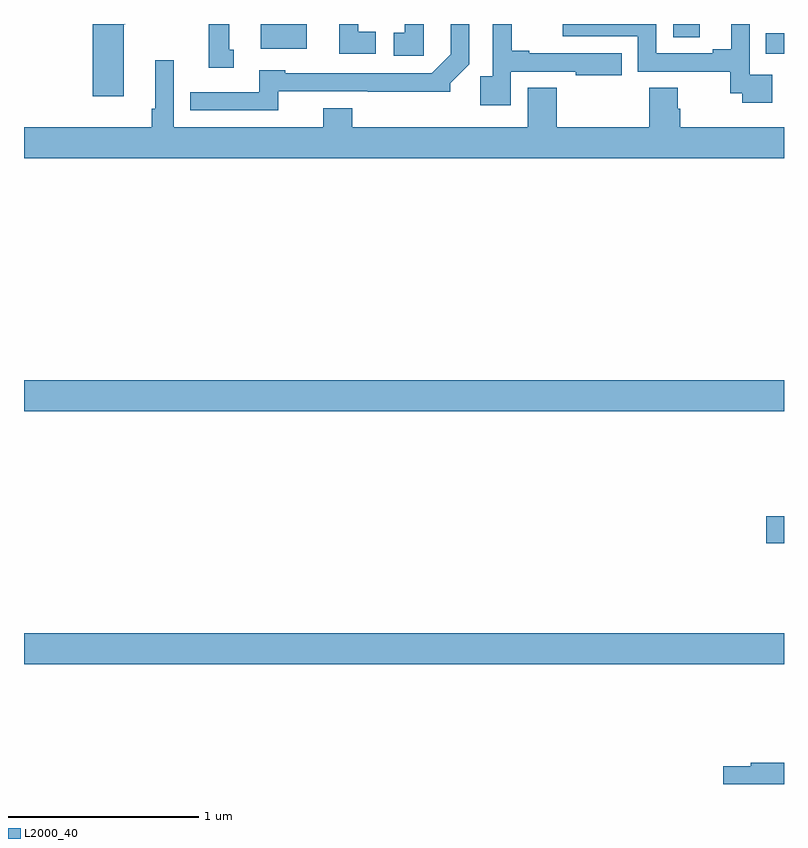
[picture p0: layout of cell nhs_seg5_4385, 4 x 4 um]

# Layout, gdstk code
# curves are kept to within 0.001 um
import gdstk
lib = gdstk.Library(unit=1e-6, precision=1e-09)
def R(c, l, rs):  # rectangles x0, y0, x1, y1
    for r in rs: c.add(gdstk.rectangle(r[:2], r[2:], *l))
def P(c, l, *ps):  # polygons
    for p in ps: c.add(gdstk.Polygon(p, *l))
L2000_40 = (2000, 40)

nhs_seg5_4385 = lib.new_cell('nhs_seg5_4385')
R(nhs_seg5_4385, L2000_40, [(369,855.428,373,855.592), (372.906,856.066,373,856.208), (369,856.76,373,856.924), (372.904,858.642,373,858.751), (370.247,858.668,370.489,858.799), (372.416,858.73,372.556,858.799)])
P(nhs_seg5_4385, L2000_40, [(369.526,858.797),(369.534,858.797),(369.534,858.799),(369.362,858.799),(369.362,858.42),(369.526,858.42)],
  [(370.338,858.444),(371.244,858.443),(371.244,858.487),(371.343,858.586),(371.343,858.799),(371.246,858.799),(371.246,858.641),(371.145,858.54),(370.374,858.54),(370.374,858.556),(370.238,858.556),(370.238,858.441),(369.874,858.441),(369.874,858.345),(370.338,858.345)],
  [(370.105,858.663),(370.081,858.663),(370.081,858.799),(369.972,858.799),(369.972,858.569),(370.105,858.569)],
  [(370.852,858.758),(370.758,858.758),(370.758,858.799),(370.658,858.799),(370.658,858.642),(370.852,858.642)],
  [(372.937,858.531),(372.819,858.531),(372.819,858.799),(372.722,858.799),(372.722,858.665),(372.626,858.665),(372.626,858.645),(372.327,858.645),(372.327,858.799),(371.836,858.799),(371.836,858.735),(372.231,858.735),(372.231,858.549),(372.718,858.549),(372.718,858.435),(372.781,858.435),(372.781,858.384),(372.937,858.384)],
  [(371.104,858.799),(371.005,858.799),(371.005,858.753),(370.947,858.753),(370.947,858.633),(371.104,858.633)],
  [(371.562,858.549),(371.903,858.549),(371.903,858.53),(372.146,858.53),(372.146,858.645),(371.659,858.645),(371.659,858.658),(371.567,858.658),(371.567,858.799),(371.466,858.799),(371.466,858.523),(371.401,858.523),(371.401,858.372),(371.562,858.372)],
  [(373,858.256),(372.455,858.256),(372.455,858.354),(372.442,858.354),(372.442,858.464),(372.29,858.464),(372.29,858.256),(371.804,858.256),(371.804,858.464),(371.651,858.464),(371.651,858.256),(370.727,858.256),(370.727,858.355),(370.574,858.355),(370.574,858.256),(369.789,858.256),(369.789,858.607),(369.692,858.607),(369.692,858.352),(369.673,858.352),(369.673,858.256),(369,858.256),(369,858.092),(373,858.092)],
  [(373,854.912),(372.826,854.912),(372.826,854.892),(372.68,854.892),(372.68,854.799),(373,854.799)])

lib.write_gds('nhs_seg5_4385.gds')
